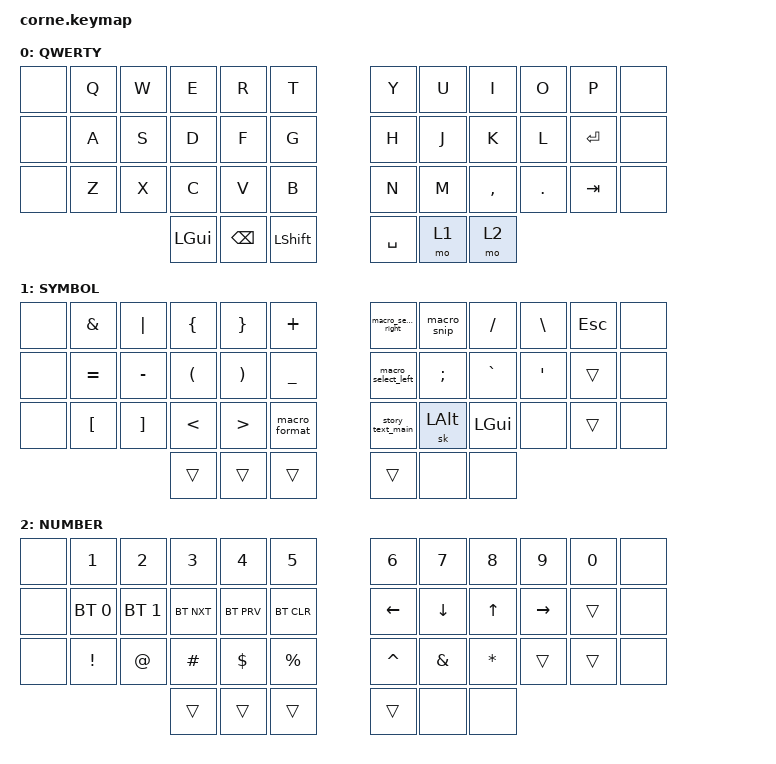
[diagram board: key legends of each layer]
#include <behaviors.dtsi>
#include <dt-bindings/zmk/keys.h>
#include <dt-bindings/zmk/bt.h>



/ {
        macros {
            ZMK_MACRO(macro_select_left,
                    wait-ms = <0>;
                    tap-ms = <0>
                    bindings = <&macro_press &kp LEFT_GUI &kp LEFT_SHIFT>, <&macro_tap &kp LEFT_ARROW>, <&macro_release &kp LEFT_GUI &kp LEFT_SHIFT>;
                )
            ZMK_MACRO(macro_select_right,
                    wait-ms = <0>; 
                    tap-ms = <0>;
                    bindings = <&macro_press &kp LEFT_GUI &kp LEFT_SHIFT>, <&macro_tap &kp RIGHT_ARROW>, <&macro_release &kp LEFT_GUI &kp LEFT_SHIFT>;
                )
            ZMK_MACRO(story_text_main,
                    wait-ms = <0>;
                    tap-ms = <0>;
                    bindings = <&macro_tap &kp A &kp c &kp c &kp e &kp p &kp t &kp a &kp n &kp c &kp e>;
                )
            ZMK_MACRO(macro_format,
                    wait-ms = <0>;
                    tap-ms = <0>;
                    bindings = <&macro_press &kp LEFT_GUI &kp LEFT_ALT>, <&macro_tap &kp L>, <&macro_release &kp LEFT_GUI &kp LEFT_ALT>;
                )
            ZMK_MACRO(macro_snip,
                    wait-ms = <0>;
                    tap-ms = <0>;
                    bindings = <&macro_press &kp LEFT_GUI &kp LEFT_SHIFT>, <&macro_tap &kp NUMBER_4>, <&macro_release &kp LEFT_GUI &kp LEFT_SHIFT>;
                )
        };

        keymap {
                compatible = "zmk,keymap";
               
                default_layer {
                  label = "QWERTY";
// -----------------------------------------------------------------------------------------
// |  Q  |  W  |  E  |  R  |  T   |   |  Y  |  U   |  I  |  O  |  P  |
// |  A  |  S  |  D  |  F  |  G   |   |  H  |  J   |  K  |  L  |  RETURN  |
// |  Z  |  X  |  C  |  V  |  B   |   |  N  |  M   |  ,  |  .  |  /  |
//             | LWIN | BKSP | LEFT_SHIFT |   | SPC | MO(1)  | MO(2) |
                        bindings = <
   &none    &kp Q &kp W &kp E &kp R &kp T   &kp Y &kp U  &kp I     &kp O   &kp P        &none
   &none    &kp A &kp S &kp D &kp F &kp G   &kp H &kp J  &kp K     &kp L   &kp RETURN   &none
   &none    &kp Z &kp X &kp C &kp V &kp B   &kp N &kp M  &kp COMMA &kp DOT &kp TAB      &none
      &kp LEFT_GUI &kp BACKSPACE   &kp LEFT_SHIFT &kp SPACE &mo 1 &mo 2
                        >;
                };

                sym_layer {
                  label = "SYMBOL";
// -----------------------------------------------------------------------------------------
// |  &  |  |  |  {  |  }  |        +       |   |   MACRO_SELECT_RIGHT |  MACRO_SNIP  |  /  |  \  |  ESCAPE  |
// |  =  |  -  |  (  |  )  |        _       |   |   MACRO_SELECT_LEFT  |        ;     |  `  |  '  |   TRANS  |
// |  [  |  ]  |  <  |  >  |  MACRO_FORMAT  |   |   MACRO_CANCEL       |      ALT     |     |     |   TRANS  |
//             | TRANS | TRANS | TRANS |   | TRANS | NONE | NONE |
                        bindings = <
   &none    &kp AMPERSAND      &kp PIPE            &kp LEFT_BRACE         &kp RIGHT_BRACE        &kp  PLUS        &macro_select_right  &macro_snip    &kp SLASH          &kp BACKSLASH     &kp ESCAPE   &none
   &none    &kp EQUAL          &kp MINUS           &kp LEFT_PARENTHESIS   &kp RIGHT_PARENTHESIS  &kp UNDERSCORE   &macro_select_left   &kp SEMICOLON  &kp GRAVE          &kp SINGLE_QUOTE  &trans       &none
   &none    &kp LEFT_BRACKET   &kp RIGHT_BRACKET   &kp LESS_THAN          &kp GREATER_THAN       &macro_format    &story_text_main     &sk LEFT_ALT   &kp LEFT_GUI       &none             &trans       &none
                       &trans &trans &trans   &trans &none &none
                        >;
                };

                num_layer {
                  label = "NUMBER";
// -----------------------------------------------------------------------------------------
// | NUMBER_1 | NUMBER_2 | NUMBER_3 | NUMBER_4 | NUMBER_5 |   | NUMBER_6 | NUMBER_7 | NUMBER_8 | NUMBER_9 | NUMBER_0 |
// |   BT_0   |   BT_1   | BT_NEXT  | BT_PREV  | BT_CLEAR |   |   LEFT   |   DOWN   |    UP    |   RIGHT  |   TRANS  |
// |    !     |     @    |     #    |     $    |     %    |   |     ^    |    &     |     *    |   NONE   |   TRANS  |
//             | TRANS | TRANS | TRANS |   | TRANS | NONE | NONE |
                        bindings = <
   &none    &kp NUMBER_1     &kp NUMBER_2  &kp NUMBER_3  &kp NUMBER_4  &kp NUMBER_5    &kp NUMBER_6    &kp NUMBER_7    &kp NUMBER_8  &kp NUMBER_9     &kp NUMBER_0  &none
   &none    &bt BT_SEL 0     &bt BT_SEL 1  &bt BT_NXT    &bt BT_PRV    &bt BT_CLR      &kp LEFT_ARROW  &kp DOWN_ARROW  &kp UP_ARROW  &kp RIGHT_ARROW  &trans        &none
   &none    &kp EXCLAMATION  &kp AT_SIGN   &kp HASH      &kp DOLLAR    &kp PERCENT     &kp CARET       &kp AMPERSAND   &kp ASTERISK  &trans           &trans        &none
                 &trans &trans &trans   &trans &none &none
                        >;
                };
        };
};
